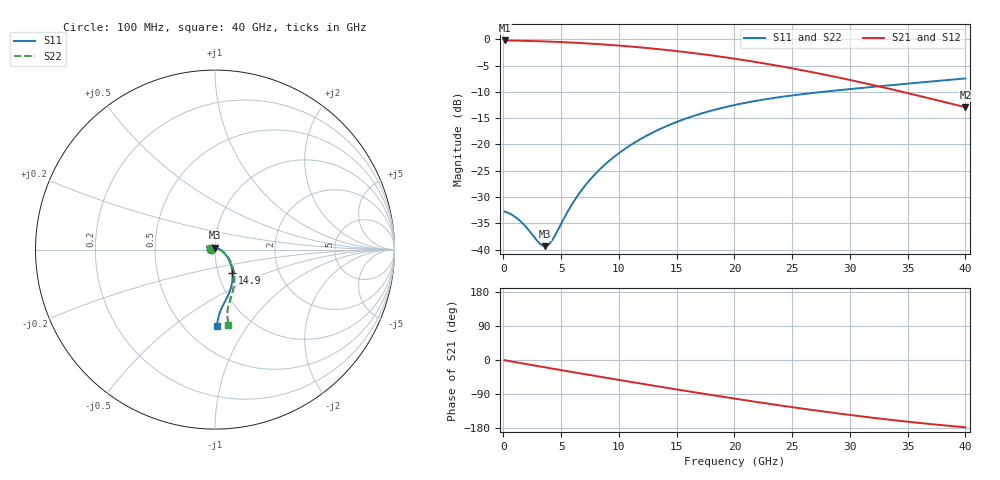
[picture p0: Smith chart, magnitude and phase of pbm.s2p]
! D_s8_stitch_1p0: physics-based via model (prototype), ports at the via
# Hz S RI R 50
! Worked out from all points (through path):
!   400 points, 100 MHz to 40 GHz, reference 50 ohm
!   highest |S21| = -0.20 dB at 100 MHz (marker M1); lowest = -12.9 dB at 40 GHz (marker M2)
!   group delay of S21, straight-line fit = 12.6 ps
!   lowest |S11| = -39.3 dB at 3.6 GHz (marker M3), VSWR 1.02, Z = 50.2 + j1.07 ohm
!   |S11| at or under -10 dB: start of sweep to 27.58 GHz
!   |S22| runs from -39.3 to -7.4 dB; largest |S21 - S12| = 0
!   S11 on the Smith chart (normalised r, x): 100 MHz: 0.96, +0.00; 14.9 GHz: 1.17, -0.31; 40 GHz: 0.71, -0.73
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1e8  -0.023 0.000952  0.9767 -0.00967  0.9767 -0.00967  -0.023 0.000943
1.3e9  -0.0175 0.00826  0.9647 -0.1213  0.9647 -0.1213  -0.0175 0.00817
2e9  -0.0125 0.0104  0.9507 -0.1837  0.9507 -0.1837  -0.0126 0.0103
3.1e9  -0.00293 0.0112  0.9195 -0.2774  0.9195 -0.2774  -0.00307 0.0112
3.6e9  0.00191 0.0106  0.9018 -0.3181  0.9018 -0.3181  0.00176 0.0106
3.9e9  0.00494 0.01  0.8902 -0.3419  0.8902 -0.3419  0.00478 0.0101
4.2e9  0.00804 0.00918  0.8779 -0.3652  0.8779 -0.3652  0.00788 0.00931
5.7e9  0.0244 0.00209  0.8062 -0.4735  0.8062 -0.4735  0.0243 0.00264
6.8e9  0.0367 -0.0062  0.7441 -0.5433  0.7441 -0.5433  0.0368 -0.00521
8.1e9  0.051 -0.0192  0.6623 -0.6143  0.6623 -0.6143  0.0516 -0.0176
9.6e9  0.0663 -0.0383  0.5591 -0.6792  0.5591 -0.6792  0.0677 -0.0358
1.14e10  0.0816 -0.0661  0.4278 -0.7319  0.4278 -0.7319  0.0845 -0.0624
1.34e10  0.0931 -0.1015  0.2796 -0.7582  0.2796 -0.7582  0.0983 -0.0965
1.49e10  0.0974 -0.1297  0.1718 -0.7567  0.1718 -0.7567  0.1047 -0.1239
1.74e10  0.0963 -0.1765  0.00705 -0.7185  0.00705 -0.7185  0.1079 -0.1697
2.01e10  0.0858 -0.2226  -0.1391 -0.6378  -0.1391 -0.6378  0.1028 -0.2153
2.34e10  0.0664 -0.2689  -0.2626 -0.5061  -0.2626 -0.5061  0.0904 -0.2618
2.67e10  0.0473 -0.3049  -0.3251 -0.3646  -0.3251 -0.3646  0.0784 -0.2985
2.98e10  0.0334 -0.3334  -0.3373 -0.2429  -0.3373 -0.2429  0.0713 -0.3274
3.34e10  0.0224 -0.3647  -0.3131 -0.1299  -0.3131 -0.1299  0.0689 -0.3589
3.66e10  0.0155 -0.3933  -0.2735 -0.0586  -0.2735 -0.0586  0.0706 -0.3873
4e10  0.00925 -0.4249  -0.2261 -0.00973  -0.2261 -0.00973  0.0743 -0.4184
